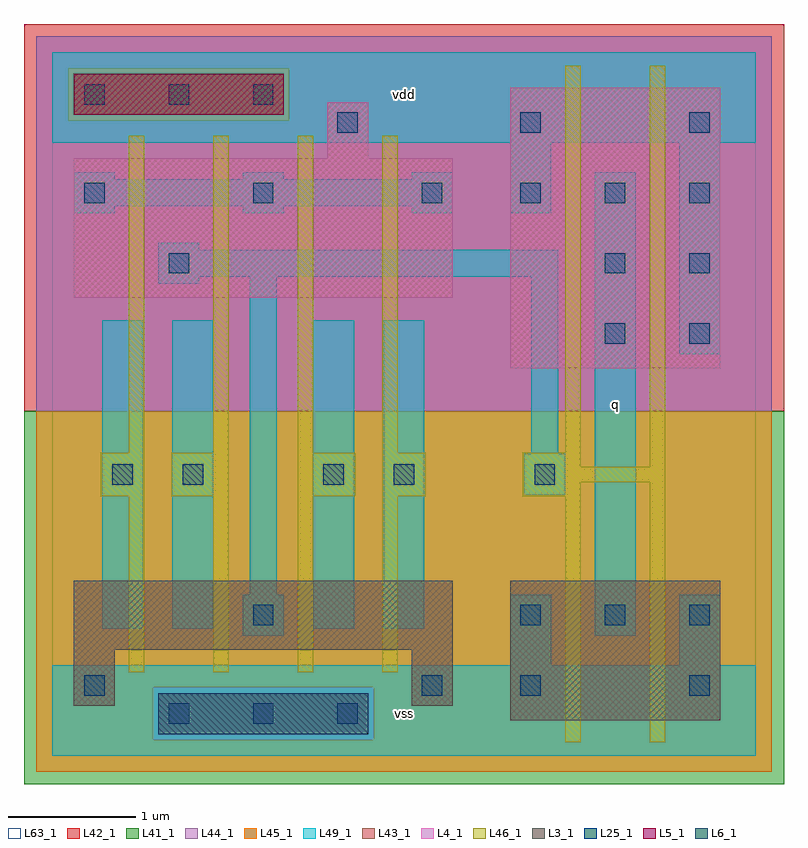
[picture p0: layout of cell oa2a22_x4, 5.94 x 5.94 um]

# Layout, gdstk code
import gdstk
lib = gdstk.Library(unit=1e-6, precision=1e-09)
def R(c, l, rs):  # rectangles x0, y0, x1, y1
    for r in rs: c.add(gdstk.rectangle(r[:2], r[2:], *l))
def A(c, l, x, y, w, h, nx, ny, dx, dy):  # array of equal rectangles
    R(c, l, [(x+i*dx, y+j*dy, x+i*dx+w, y+j*dy+h) for i in range(nx) for j in range(ny)])
L3_1 = (3, 1)
L4_1 = (4, 1)
L5_1 = (5, 1)
L6_1 = (6, 1)
L25_1 = (25, 1)
L41_1 = (41, 1)
L42_1 = (42, 1)
L43_1 = (43, 1)
L44_1 = (44, 1)
L45_1 = (45, 1)
L46_1 = (46, 1)
L49_1 = (49, 1)
L63_1 = (63, 1)

oa2a22_x4 = lib.new_cell('oa2a22_x4')
R(oa2a22_x4, L3_1, [(3.58,0.28,5.22,1.37), (0.17,0.39,0.49,0.83), (2.81,0.39,3.13,0.83), (0.17,0.83,3.13,1.37)])
R(oa2a22_x4, L4_1, [(3.58,3.03,5.22,5.22), (0.17,3.58,3.13,4.67), (2.15,4.67,2.47,5.11)])
R(oa2a22_x4, L5_1, [(0.17,5.01,1.81,5.33)])
R(oa2a22_x4, L6_1, [(0.83,0.17,2.47,0.49)])
A(oa2a22_x4, L25_1, 0.91, 0.25, 0.16, 0.16, 3, 1, 0.66, 0)
A(oa2a22_x4, L25_1, 3.66, 1.02, 0.16, 0.16, 3, 2, 0.66, 3.3)
A(oa2a22_x4, L25_1, 0.25, 4.32, 0.16, 0.16, 3, 1, 1.32, 0)
A(oa2a22_x4, L25_1, 0.25, 5.09, 0.16, 0.16, 3, 1, 0.66, 0)
R(oa2a22_x4, L25_1, [(0.25,0.47,0.41,0.63), (2.89,0.47,3.05,0.63), (3.66,0.47,3.82,0.63), (4.98,0.47,5.14,0.63), (1.57,1.02,1.73,1.18), (0.47,2.12,0.63,2.28), (1.02,2.12,1.18,2.28), (2.12,2.12,2.28,2.28), (2.67,2.12,2.83,2.28), (3.77,2.12,3.93,2.28), (4.32,3.22,4.48,3.38), (4.98,3.22,5.14,3.38), (0.91,3.77,1.07,3.93), (4.32,3.77,4.48,3.93), (4.98,3.77,5.14,3.93), (2.23,4.87,2.39,5.03), (3.66,4.87,3.82,5.03), (4.98,4.87,5.14,5.03)])
R(oa2a22_x4, L41_1, [(-0.22,-0.22,5.72,2.695)])
R(oa2a22_x4, L42_1, [(-0.22,2.695,5.72,5.72)])
R(oa2a22_x4, L43_1, [(0.83,0.17,2.47,0.49), (3.58,0.28,5.22,1.37), (0.17,0.39,0.49,0.83), (2.81,0.39,3.13,0.83), (0.17,0.83,3.13,1.37), (3.58,3.03,5.22,5.22), (0.17,3.58,3.13,4.67), (2.15,4.67,2.47,5.11), (0.17,5.01,1.81,5.33)])
R(oa2a22_x4, L44_1, [(0.785,0.125,2.515,0.535), (-0.125,2.695,5.625,4.965), (-0.125,4.965,0.125,5.375), (1.855,4.965,5.625,5.375), (-0.125,5.375,5.625,5.625)])
R(oa2a22_x4, L45_1, [(-0.125,-0.125,5.625,0.125), (-0.125,0.125,0.785,0.535), (2.515,0.125,5.625,0.535), (-0.125,0.535,5.625,2.695), (0.125,4.965,1.855,5.375)])
A(oa2a22_x4, L46_1, 0.6, 0.655, 0.12, 1.375, 4, 1, 0.66, 0)
A(oa2a22_x4, L46_1, 0.6, 2.37, 0.12, 2.475, 4, 1, 0.66, 0)
R(oa2a22_x4, L46_1, [(4.01,0.105,4.13,2.03), (4.67,0.105,4.79,2.14), (0.38,2.03,0.72,2.37), (0.93,2.03,1.38,2.37), (1.92,2.03,2.37,2.37), (2.58,2.03,2.92,2.37), (3.68,2.03,4.13,2.14), (3.68,2.14,4.79,2.26), (3.68,2.26,4.13,2.37), (4.67,2.26,4.79,5.395), (4.01,2.37,4.13,5.395)])
A(oa2a22_x4, L49_1, 0.17, 4.24, 0.32, 0.055, 3, 2, 1.32, 0.265)
R(oa2a22_x4, L49_1, [(0,0,5.5,0.71), (3.58,0.71,3.9,1.26), (4.9,0.71,5.22,1.26), (1.49,0.94,1.81,1.26), (4.24,0.94,4.56,4.56), (0.39,0.995,0.71,3.405), (0.94,0.995,1.26,3.405), (2.04,0.995,2.36,3.405), (2.59,0.995,2.91,3.405), (1.545,1.26,1.755,3.745), (3.69,2.04,4.01,2.36), (3.745,2.36,3.955,3.745), (4.9,3.14,5.22,4.79), (0.83,3.69,1.15,3.745), (0.83,3.745,3.955,3.955), (0.83,3.955,1.15,4.01), (3.58,4.24,3.9,4.79), (0.17,4.295,3.13,4.505), (0,4.79,5.5,5.5)])
R(oa2a22_x4, L63_1, [(0,0,5.5,5.5)])
oa2a22_x4.add(gdstk.Label('vss', (2.75,0.33), layer=49, texttype=1))
oa2a22_x4.add(gdstk.Label('vss', (2.75,0.33), layer=49, texttype=1))
oa2a22_x4.add(gdstk.Label('vdd', (2.75,5.17), layer=49, texttype=1))
oa2a22_x4.add(gdstk.Label('vdd', (2.75,5.17), layer=49, texttype=1))
oa2a22_x4.add(gdstk.Label('q', (4.4,2.75), layer=49, texttype=1))
oa2a22_x4.add(gdstk.Label('q', (4.4,2.75), layer=49, texttype=1))

lib.write_gds('oa2a22_x4.gds')
